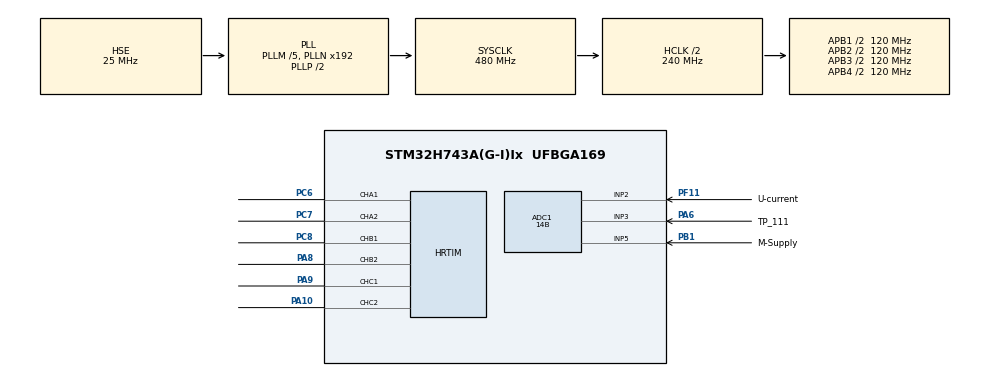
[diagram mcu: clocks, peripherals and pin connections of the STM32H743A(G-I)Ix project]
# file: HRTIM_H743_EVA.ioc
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ADC1.Channel-0\#ChannelRegularConversion=ADC_CHANNEL_2
ADC1.ClockPrescaler=ADC_CLOCK_ASYNC_DIV2
ADC1.EOCSelection=ADC_EOC_SEQ_CONV
ADC1.EnableInjectedConversion=ENABLE
ADC1.ExternalTrigConv=ADC_EXTERNALTRIG_HR1_ADCTRG1
ADC1.ExternalTrigInjecConv=ADC_EXTERNALTRIGINJEC_HR1_ADCTRG2
ADC1.InjNumberOfConversion=2
ADC1.InjectedChannel-1\#ChannelInjectedConversion=ADC_CHANNEL_3
ADC1.InjectedChannel-2\#ChannelInjectedConversion=ADC_CHANNEL_5
ADC1.InjectedOffsetNumber-1\#ChannelInjectedConversion=ADC_OFFSET_NONE
ADC1.InjectedOffsetNumber-2\#ChannelInjectedConversion=ADC_OFFSET_NONE
ADC1.InjectedOffsetSaturation-1\#ChannelInjectedConversion=DISABLE
ADC1.InjectedOffsetSaturation-2\#ChannelInjectedConversion=DISABLE
ADC1.InjectedRank-1\#ChannelInjectedConversion=1
ADC1.InjectedRank-2\#ChannelInjectedConversion=2
ADC1.InjectedSamplingTime-1\#ChannelInjectedConversion=ADC_SAMPLETIME_32CYCLES_5
ADC1.InjectedSamplingTime-2\#ChannelInjectedConversion=ADC_SAMPLETIME_32CYCLES_5
ADC1.NbrOfConversionFlag=1
ADC1.OffsetNumber-0\#ChannelRegularConversion=ADC_OFFSET_NONE
ADC1.OffsetSignedSaturation-0\#ChannelRegularConversion=DISABLE
ADC1.Rank-0\#ChannelRegularConversion=1
ADC1.Resolution=ADC_RESOLUTION_14B
ADC1.SamplingTime-0\#ChannelRegularConversion=ADC_SAMPLETIME_32CYCLES_5
ADC1.master=1
Dma.HRTIM1_M.0.Direction=DMA_PERIPH_TO_MEMORY
Dma.HRTIM1_M.0.EventEnable=ENABLE
Dma.HRTIM1_M.0.FIFOMode=DMA_FIFOMODE_DISABLE
Dma.HRTIM1_M.0.Instance=DMA1_Stream2
Dma.HRTIM1_M.0.MemDataAlignment=DMA_MDATAALIGN_WORD
Dma.HRTIM1_M.0.MemInc=DMA_MINC_ENABLE
Dma.HRTIM1_M.0.Mode=DMA_NORMAL
Dma.HRTIM1_M.0.PeriphDataAlignment=DMA_PDATAALIGN_WORD
Dma.HRTIM1_M.0.PeriphInc=DMA_PINC_DISABLE
Dma.HRTIM1_M.0.Polarity=HAL_DMAMUX_REQ_GEN_RISING
Dma.HRTIM1_M.0.Priority=DMA_PRIORITY_HIGH
Dma.HRTIM1_M.0.RequestNumber=1
Dma.HRTIM1_M.0.SignalID=NONE
Dma.HRTIM1_M.0.SyncEnable=DISABLE
Dma.HRTIM1_M.0.SyncPolarity=HAL_DMAMUX_SYNC_NO_EVENT
Dma.HRTIM1_M.0.SyncRequestNumber=1
Dma.HRTIM1_M.0.SyncSignalID=NONE
Dma.Request0=HRTIM1_M
HRTIM.ADCTrigger1_Source1=HRTIM_ADCTRIGGEREVENT13_TIMERD_CMP2
HRTIM.ADCTrigger2_Source1=HRTIM_ADCTRIGGEREVENT24_TIMERE_CMP2
HRTIM.ADCTrigger_Id1=HRTIM_ADCTRIGGER_1
HRTIM.ADCTrigger_Id2=HRTIM_ADCTRIGGER_2
HRTIM.BurstDMAconfig-MasterTimer=HRTIM_TIMERINDEX_MASTER
HRTIM.BurstDMAconfig-Output_TC1TC2=__NULL
HRTIM.CompareUnit1-MasterTimer=HRTIM_COMPAREUNIT_1
HRTIM.CompareUnit1-No_output_TD=__NULL
HRTIM.CompareUnit1-No_output_TE=__NULL
HRTIM.CompareUnit1-Output_TA1TA2=HRTIM_COMPAREUNIT_1
HRTIM.CompareUnit1-Output_TB1TB2=HRTIM_COMPAREUNIT_1
HRTIM.CompareUnit1-Output_TC1TC2=HRTIM_COMPAREUNIT_1
HRTIM.CompareUnit2-MasterTimer=HRTIM_COMPAREUNIT_2
HRTIM.CompareUnit2-No_output_TD=HRTIM_COMPAREUNIT_2
HRTIM.CompareUnit2-No_output_TE=HRTIM_COMPAREUNIT_2
HRTIM.CompareUnit2-Output_TA1TA2=HRTIM_COMPAREUNIT_2
HRTIM.CompareUnit2-Output_TB1TB2=HRTIM_COMPAREUNIT_2
HRTIM.CompareUnit2-Output_TC1TC2=HRTIM_COMPAREUNIT_2
HRTIM.CompareValue1-MasterTimer=0x04
HRTIM.CompareValue1-Output_TA1TA2=2000
HRTIM.CompareValue1-Output_TB1TB2=2000
HRTIM.CompareValue1-Output_TC1TC2=1999
HRTIM.CompareValue2-MasterTimer=666
HRTIM.CompareValue2-No_output_TD=PWM_Period
HRTIM.CompareValue2-No_output_TE=Base_Period - 2000
HRTIM.CompareValue2-Output_TA1TA2=4000
HRTIM.CompareValue2-Output_TB1TB2=4000
HRTIM.CompareValue2-Output_TC1TC2=4000
HRTIM.DMARequests1_Master=HRTIM_MASTER_DMA_MREP
HRTIM.DeadTimeInsertion-Output_TA1TA2=HRTIM_TIMDEADTIMEINSERTION_ENABLED
HRTIM.DeadTimeInsertion-Output_TB1TB2=HRTIM_TIMDEADTIMEINSERTION_ENABLED
HRTIM.DeadTimeInsertion-Output_TC1TC2=HRTIM_TIMDEADTIMEINSERTION_ENABLED
HRTIM.Deadtimeconfig-Output_TA1TA2=HRTIM_TIMERINDEX_TIMER_A
HRTIM.Enable=HRTIM_BURSTMODECTL_DISABLED
HRTIM.Event_EEV1=__NULL
HRTIM.FallingSign-Output_TA1TA2=HRTIM_TIMDEADTIME_FALLINGSIGN_NEGATIVE
HRTIM.FallingSign-Output_TB1TB2=HRTIM_TIMDEADTIME_FALLINGSIGN_NEGATIVE
HRTIM.FallingSign-Output_TC1TC2=HRTIM_TIMDEADTIME_FALLINGSIGN_NEGATIVE
HRTIM.FallingValue-Output_TA1TA2=0x00A
HRTIM.HRTIMInterruptResquests1=HRTIM_IT_SYSFLT
HRTIM.InterruptRequests1-No_output_TD=HRTIM_TIM_IT_CMP2
HRTIM.InterruptRequests1-No_output_TE=HRTIM_TIM_IT_CMP2
HRTIM.ModeTimeBase-No_output_TD=HRTIM_MODE_SINGLESHOT
HRTIM.ModeTimeBase-No_output_TE=HRTIM_MODE_SINGLESHOT
HRTIM.ModeTimeBase-Output_TA1TA2=HRTIM_MODE_SINGLESHOT_RETRIGGERABLE
HRTIM.ModeTimeBase-Output_TB1TB2=HRTIM_MODE_SINGLESHOT_RETRIGGERABLE
HRTIM.ModeTimeBase-Output_TC1TC2=HRTIM_MODE_SINGLESHOT_RETRIGGERABLE
HRTIM.NumberADCTriggerSource1=1
HRTIM.NumberADCTriggerSource2=1
HRTIM.NumberDMARequests_Master=1
HRTIM.NumberDMARequests_TC=0
HRTIM.NumberInterruptRequests-No_output_TD=1
HRTIM.NumberInterruptRequests-No_output_TE=1
HRTIM.NumberRegisters_BURSTDMAMaster=1
HRTIM.NumberResetSource1-Output_TA1TA2=1
HRTIM.NumberResetSource1-Output_TB1TB2=1
HRTIM.NumberResetSource1-Output_TC1TC2=1
HRTIM.NumberResetSource2_TA=1
HRTIM.NumberResetSource2_TB=1
HRTIM.NumberResetSource2_TC=1
HRTIM.NumberResetTrigger-No_output_TD=1
HRTIM.NumberResetTrigger-No_output_TE=1
HRTIM.NumberResetTrigger-Output_TA1TA2=1
HRTIM.NumberResetTrigger-Output_TB1TB2=1
HRTIM.NumberResetTrigger-Output_TC1TC2=1
HRTIM.NumberSetSource1-Output_TA1TA2=1
HRTIM.NumberSetSource1-Output_TB1TB2=1
HRTIM.NumberSetSource1-Output_TC1TC2=1
HRTIM.NumberSetSource2_TA=0
HRTIM.NumberSetSource2_TB=0
HRTIM.NumberSetSource2_TC=0
HRTIM.NumberUpdateTrigger-Output_TA1TA2=1
HRTIM.NumberUpdateTrigger-Output_TB1TB2=1
HRTIM.NumberUpdateTrigger-Output_TC1TC2=1
HRTIM.ORingUpdateSource_ADCTrigger1=HRTIM_ADCTRIGGERUPDATE_TIMER_D
HRTIM.ORingUpdateSource_ADCTrigger2=HRTIM_ADCTRIGGERUPDATE_TIMER_E
HRTIM.Periode_MASTER=PWM_Period
HRTIM.Periode_TA=PWM_Period
HRTIM.Periode_TB=PWM_Period
HRTIM.Periode_TC=PWM_Period
HRTIM.Periode_TD=Base_Period
HRTIM.Periode_TE=Base_Period
HRTIM.Polarity2-Output_TA1TA2=HRTIM_OUTPUTPOLARITY_HIGH
HRTIM.Polarity2-Output_TB1TB2=HRTIM_OUTPUTPOLARITY_HIGH
HRTIM.Polarity2-Output_TC1TC2=HRTIM_OUTPUTPOLARITY_HIGH
HRTIM.PreloadEnable-MasterTimer=HRTIM_PRELOAD_ENABLED
HRTIM.PreloadEnable-No_output_TD=HRTIM_PRELOAD_DISABLED
HRTIM.PreloadEnable-No_output_TE=HRTIM_PRELOAD_DISABLED
HRTIM.PreloadEnable-Output_TA1TA2=HRTIM_PRELOAD_ENABLED
HRTIM.PreloadEnable-Output_TB1TB2=HRTIM_PRELOAD_ENABLED
HRTIM.PreloadEnable-Output_TC1TC2=HRTIM_PRELOAD_ENABLED
HRTIM.PrescalerDead-Output_TA1TA2=HRTIM_TIMDEADTIME_PRESCALERRATIO_DIV1
HRTIM.PrescalerDead-Output_TB1TB2=HRTIM_TIMDEADTIME_PRESCALERRATIO_DIV1
HRTIM.PrescalerDead-Output_TC1TC2=HRTIM_TIMDEADTIME_PRESCALERRATIO_DIV1
HRTIM.RegistersToUpdate_Source1Master=HRTIM_BURSTDMA_CMP2
HRTIM.RepetitionUpdate-MasterTimer=HRTIM_UPDATEONREPETITION_ENABLED
HRTIM.RepetitionUpdate-No_output_TD=HRTIM_UPDATEONREPETITION_ENABLED
HRTIM.RepetitionUpdate-No_output_TE=HRTIM_UPDATEONREPETITION_ENABLED
HRTIM.RepetitionUpdate-Output_TA1TA2=HRTIM_UPDATEONREPETITION_DISABLED
HRTIM.RepetitionUpdate-Output_TB1TB2=HRTIM_UPDATEONREPETITION_DISABLED
HRTIM.RepetitionUpdate-Output_TC1TC2=HRTIM_UPDATEONREPETITION_DISABLED
HRTIM.ResetOutput1_Source1-Output_TA1TA2=HRTIM_OUTPUTRESET_TIMCMP2
HRTIM.ResetOutput1_Source1-Output_TB1TB2=HRTIM_OUTPUTRESET_TIMCMP2
HRTIM.ResetOutput1_Source1-Output_TC1TC2=HRTIM_OUTPUTRESET_TIMCMP2
HRTIM.ResetOutput2_Source1-Output_TA1TA2=HRTIM_OUTPUTRESET_TIMCMP2
HRTIM.ResetOutput2_Source1-Output_TB1TB2=HRTIM_OUTPUTRESET_TIMCMP2
HRTIM.ResetOutput2_Source1-Output_TC1TC2=HRTIM_OUTPUTRESET_TIMCMP2
HRTIM.ResetTrigger1-No_output_TD=HRTIM_TIMRESETTRIGGER_MASTER_PER
HRTIM.ResetTrigger1-No_output_TE=HRTIM_TIMRESETTRIGGER_MASTER_PER
HRTIM.ResetTrigger1-Output_TA1TA2=HRTIM_TIMRESETTRIGGER_MASTER_PER
HRTIM.ResetTrigger1-Output_TB1TB2=HRTIM_TIMRESETTRIGGER_MASTER_PER
HRTIM.ResetTrigger1-Output_TC1TC2=HRTIM_TIMRESETTRIGGER_MASTER_PER
HRTIM.ResetUpdate-Output_TC1TC2=HRTIM_TIMUPDATEONRESET_DISABLED
HRTIM.RisingSign-Output_TA1TA2=HRTIM_TIMDEADTIME_RISINGSIGN_POSITIVE
HRTIM.RisingSign-Output_TB1TB2=HRTIM_TIMDEADTIME_RISINGSIGN_POSITIVE
HRTIM.RisingSign-Output_TC1TC2=HRTIM_TIMDEADTIME_RISINGSIGN_POSITIVE
HRTIM.RisingValue-Output_TA1TA2=0x009
HRTIM.SetOutput1_Source1-Output_TA1TA2=HRTIM_OUTPUTSET_TIMCMP1
HRTIM.SetOutput1_Source1-Output_TB1TB2=HRTIM_OUTPUTSET_TIMCMP1
HRTIM.SetOutput1_Source1-Output_TC1TC2=HRTIM_OUTPUTSET_TIMCMP1
HRTIM.UpdateGating-MasterTimer=HRTIM_UPDATEGATING_DMABURST
HRTIM.UpdateGating-Output_TA1TA2=HRTIM_UPDATEGATING_DMABURST
HRTIM.UpdateGating-Output_TB1TB2=HRTIM_UPDATEGATING_DMABURST
HRTIM.UpdateGating-Output_TC1TC2=HRTIM_UPDATEGATING_DMABURST
HRTIM.UpdateTrigger1-Output_TA1TA2=HRTIM_TIMUPDATETRIGGER_MASTER
HRTIM.UpdateTrigger1-Output_TB1TB2=HRTIM_TIMUPDATETRIGGER_MASTER
HRTIM.UpdateTrigger1-Output_TC1TC2=HRTIM_TIMUPDATETRIGGER_MASTER
Mcu.Family=STM32H7
Mcu.Name=STM32H743A(G-I)Ix
Mcu.Package=UFBGA169
Mcu.UserConstants=Base_Period,12000;PWM_Period,6000
NVIC.ADC_IRQn=true\:0\:0\:false\:false\:true\:true\:true\:true
NVIC.DMA1_Stream2_IRQn=true\:0\:0\:false\:false\:true\:false\:true\:true
NVIC.DMAMUX1_OVR_IRQn=true\:0\:0\:false\:false\:true\:false\:true\:true
NVIC.HRTIM1_TIMD_IRQn=true\:0\:0\:false\:false\:true\:true\:true\:true
NVIC.HRTIM1_TIME_IRQn=true\:0\:0\:false\:false\:true\:true\:true\:true
NVIC.PriorityGroup=NVIC_PRIORITYGROUP_4
PA10.Mode=Output_TC1TC2
PA10.Signal=HRTIM_CHC2
PA13\ (JTMS/SWDIO).Mode=Trace_Asynchronous_SW
PA13\ (JTMS/SWDIO).Signal=DEBUG_JTMS-SWDIO
PA14\ (JTCK/SWCLK).Mode=Trace_Asynchronous_SW
PA14\ (JTCK/SWCLK).Signal=DEBUG_JTCK-SWCLK
PA6.GPIO_Label=TP_111
PA6.Signal=ADCx_INP3
PA8.Mode=Output_TB1TB2
PA8.Signal=HRTIM_CHB2
PA9.Mode=Output_TC1TC2
PA9.Signal=HRTIM_CHC1
PB1.GPIO_Label=M-Supply
PB1.Signal=ADCx_INP5
PB3\ (JTDO/TRACESWO).Mode=Trace_Asynchronous_SW
PB3\ (JTDO/TRACESWO).Signal=DEBUG_JTDO-SWO
PC6.Mode=Output_TA1TA2
PC6.Signal=HRTIM_CHA1
PC7.Mode=Output_TA1TA2
PC7.Signal=HRTIM_CHA2
PC8.Mode=Output_TB1TB2
PC8.Signal=HRTIM_CHB1
PF11.GPIO_Label=U-current
PF11.Mode=IN2-Single-Ended
PF11.Signal=ADC1_INP2
PH0-OSC_IN\ (PH0).Mode=HSE-External-Clock-Source
PH0-OSC_IN\ (PH0).Signal=RCC_OSC_IN
ProjectManager.HeapSize=0x200
ProjectManager.StackSize=0x400
ProjectManager.TargetToolchain=STM32CubeIDE
RCC.ADCCLockSelection=RCC_ADCCLKSOURCE_PLL3
RCC.ADCFreq_Value=75000000
RCC.APB1Freq_Value=120000000
RCC.APB2Freq_Value=120000000
RCC.APB3Freq_Value=120000000
RCC.APB4Freq_Value=120000000
RCC.CortexFreq_Value=60000000
RCC.Cortex_Div=SYSTICK_CLKSOURCE_HCLK_DIV8
RCC.D1PPRE=RCC_APB3_DIV2
RCC.D2PPRE1=RCC_APB1_DIV2
RCC.D2PPRE2=RCC_APB2_DIV2
RCC.D3PPRE=RCC_APB4_DIV2
RCC.DIVM1=5
RCC.DIVM2=2
RCC.DIVM3=23
RCC.DIVN1=192
RCC.DIVN2=12
RCC.DIVN3=138
RCC.HCLKFreq_Value=240000000
RCC.HPRE=RCC_HCLK_DIV2
RCC.HRTIMCLockSelection=RCC_HRTIM1CLK_CPUCLK
RCC.PLLSourceVirtual=RCC_PLLSOURCE_HSE
RCC.SYSCLKFreq_VALUE=480000000
RCC.SYSCLKSource=RCC_SYSCLKSOURCE_PLLCLK
RCC.USBFreq_Value=480000000
SH.ADCx_INP3.0=ADC1_INP3,IN3-Single-Ended
SH.ADCx_INP5.0=ADC1_INP5,IN5-Single-Ended
VP_HRTIM_VS_hrtimMasterTimerNoOutput.Mode=MasterTimer
VP_HRTIM_VS_hrtimTimerDNoOutput.Mode=No_output_TD
VP_HRTIM_VS_hrtimTimerENoOutput.Mode=No_output_TE
board=custom

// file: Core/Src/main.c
/* USER CODE BEGIN Header */
/**
  ******************************************************************************
  * @file           : main.c
  * @brief          : Main program body
  ******************************************************************************
  * @attention
  *
  * Copyright (c) 2024 STMicroelectronics.
  * All rights reserved.
  *
  * This software is licensed under terms that can be found in the LICENSE file
  * in the root directory of this software component.
  * If no LICENSE file comes with this software, it is provided AS-IS.
  *
  ******************************************************************************
  */
/* USER CODE END Header */
#include "main.h"

/* USER CODE BEGIN Includes */

#include "stm32h7xx_ll_cortex.h"
/* USER CODE END Includes */

ADC_HandleTypeDef hadc1;

HRTIM_HandleTypeDef hhrtim;
DMA_HandleTypeDef hdma_hrtim1_m;

void SystemClock_Config(void);
static void MX_GPIO_Init(void);
static void MX_DMA_Init(void);
static void MX_HRTIM_Init(void);
static void MX_ADC1_Init(void);

int main(void)
{

  /* MCU Configuration--------------------------------------------------------*/

  /* Reset of all peripherals, Initializes the Flash interface and the Systick. */
  HAL_Init();

  /* Configure the system clock */
  SystemClock_Config();

  /* Initialize all configured peripherals */
  MX_GPIO_Init();
  MX_DMA_Init();
  MX_HRTIM_Init();
  MX_ADC1_Init();
  /* USER CODE BEGIN 2 */

  HAL_ADC_Start_IT( &hadc1 );

  HAL_StatusTypeDef volatile ret =
		  HAL_HRTIM_SoftwareReset( &hhrtim, HRTIM_TIMERRESET_MASTER ); // MASTER should reset its slaves
  if( ret != HAL_OK)
  {
	  Error_Handler();
  }

  ret = HAL_HRTIM_WaveformOutputStart( &hhrtim,
		  HRTIM_OUTPUT_TA1 | HRTIM_OUTPUT_TA2 |
		  HRTIM_OUTPUT_TB1 | HRTIM_OUTPUT_TB2 |
		  HRTIM_OUTPUT_TC1 | HRTIM_OUTPUT_TC2  );
  if( ret != HAL_OK)
  {
	  Error_Handler();
  }

  ret = HAL_HRTIM_WaveformCountStart( &hhrtim, HRTIM_TIMERID_TIMER_A | HRTIM_TIMERID_TIMER_B | HRTIM_TIMERID_TIMER_C  );
  if( ret != HAL_OK)
  {
	  Error_Handler();
  }
  // Interrupts for testing purpose
  ret = HAL_HRTIM_WaveformCountStart_IT( &hhrtim, HRTIM_TIMERID_TIMER_D | HRTIM_TIMERID_TIMER_E );
  if( ret != HAL_OK)
  {
	  Error_Handler();
  }
  ret = HAL_HRTIM_WaveformCountStart_DMA( &hhrtim, HRTIM_TIMERID_MASTER );
  if( ret != HAL_OK)
  {
	  Error_Handler();
  }

  LL_SYSTICK_EnableIT();

  /* USER CODE END 2 */

  /* Infinite loop */
  while (1)
  {

  }
}

void SystemClock_Config(void)
{
  RCC_OscInitTypeDef RCC_OscInitStruct = {0};
  RCC_ClkInitTypeDef RCC_ClkInitStruct = {0};

  /** Supply configuration update enable
  */
  HAL_PWREx_ConfigSupply(PWR_LDO_SUPPLY);

  /** Configure the main internal regulator output voltage
  */
  __HAL_PWR_VOLTAGESCALING_CONFIG(PWR_REGULATOR_VOLTAGE_SCALE1);

  while(!__HAL_PWR_GET_FLAG(PWR_FLAG_VOSRDY)) {}

  __HAL_RCC_SYSCFG_CLK_ENABLE();
  __HAL_PWR_VOLTAGESCALING_CONFIG(PWR_REGULATOR_VOLTAGE_SCALE0);

  while(!__HAL_PWR_GET_FLAG(PWR_FLAG_VOSRDY)) {}

  /** Initializes the RCC Oscillators according to the specified parameters
  * in the RCC_OscInitTypeDef structure.
  */
  RCC_OscInitStruct.OscillatorType = RCC_OSCILLATORTYPE_HSE;
  RCC_OscInitStruct.HSEState = RCC_HSE_BYPASS;
  RCC_OscInitStruct.PLL.PLLState = RCC_PLL_ON;
  RCC_OscInitStruct.PLL.PLLSource = RCC_PLLSOURCE_HSE;
  RCC_OscInitStruct.PLL.PLLM = 5;
  RCC_OscInitStruct.PLL.PLLN = 192;
  RCC_OscInitStruct.PLL.PLLP = 2;
  RCC_OscInitStruct.PLL.PLLQ = 2;
  RCC_OscInitStruct.PLL.PLLR = 2;
  RCC_OscInitStruct.PLL.PLLRGE = RCC_PLL1VCIRANGE_2;
  RCC_OscInitStruct.PLL.PLLVCOSEL = RCC_PLL1VCOWIDE;
  RCC_OscInitStruct.PLL.PLLFRACN = 0;
  if (HAL_RCC_OscConfig(&RCC_OscInitStruct) != HAL_OK)
  {
    Error_Handler();
  }

  /** Initializes the CPU, AHB and APB buses clocks
  */
  RCC_ClkInitStruct.ClockType = RCC_CLOCKTYPE_HCLK|RCC_CLOCKTYPE_SYSCLK
                              |RCC_CLOCKTYPE_PCLK1|RCC_CLOCKTYPE_PCLK2
                              |RCC_CLOCKTYPE_D3PCLK1|RCC_CLOCKTYPE_D1PCLK1;
  RCC_ClkInitStruct.SYSCLKSource = RCC_SYSCLKSOURCE_PLLCLK;
  RCC_ClkInitStruct.SYSCLKDivider = RCC_SYSCLK_DIV1;
  RCC_ClkInitStruct.AHBCLKDivider = RCC_HCLK_DIV2;
  RCC_ClkInitStruct.APB3CLKDivider = RCC_APB3_DIV2;
  RCC_ClkInitStruct.APB1CLKDivider = RCC_APB1_DIV2;
  RCC_ClkInitStruct.APB2CLKDivider = RCC_APB2_DIV2;
  RCC_ClkInitStruct.APB4CLKDivider = RCC_APB4_DIV2;

  if (HAL_RCC_ClockConfig(&RCC_ClkInitStruct, FLASH_LATENCY_4) != HAL_OK)
  {
    Error_Handler();
  }
}

static void MX_ADC1_Init(void)
{

  ADC_MultiModeTypeDef multimode = {0};
  ADC_ChannelConfTypeDef sConfig = {0};
  ADC_InjectionConfTypeDef sConfigInjected = {0};

  /** Common config
  */
  hadc1.Instance = ADC1;
  hadc1.Init.ClockPrescaler = ADC_CLOCK_ASYNC_DIV2;
  hadc1.Init.Resolution = ADC_RESOLUTION_14B;
  hadc1.Init.ScanConvMode = ADC_SCAN_ENABLE;
  hadc1.Init.EOCSelection = ADC_EOC_SEQ_CONV;
  hadc1.Init.LowPowerAutoWait = DISABLE;
  hadc1.Init.ContinuousConvMode = DISABLE;
  hadc1.Init.NbrOfConversion = 1;
  hadc1.Init.DiscontinuousConvMode = DISABLE;
  hadc1.Init.ExternalTrigConv = ADC_EXTERNALTRIG_HR1_ADCTRG1;
  hadc1.Init.ExternalTrigConvEdge = ADC_EXTERNALTRIGCONVEDGE_RISING;
  hadc1.Init.ConversionDataManagement = ADC_CONVERSIONDATA_DR;
  hadc1.Init.Overrun = ADC_OVR_DATA_PRESERVED;
  hadc1.Init.LeftBitShift = ADC_LEFTBITSHIFT_NONE;
  hadc1.Init.OversamplingMode = DISABLE;
  if (HAL_ADC_Init(&hadc1) != HAL_OK)
  {
    Error_Handler();
  }

  /** Configure the ADC multi-mode
  */
  multimode.Mode = ADC_MODE_INDEPENDENT;
  if (HAL_ADCEx_MultiModeConfigChannel(&hadc1, &multimode) != HAL_OK)
  {
    Error_Handler();
  }

  /** Disable Injected Queue
  */
  HAL_ADCEx_DisableInjectedQueue(&hadc1);

  /** Configure Regular Channel
  */
  sConfig.Channel = ADC_CHANNEL_2;
  sConfig.Rank = ADC_REGULAR_RANK_1;
  sConfig.SamplingTime = ADC_SAMPLETIME_32CYCLES_5;
  sConfig.SingleDiff = ADC_SINGLE_ENDED;
  sConfig.OffsetNumber = ADC_OFFSET_NONE;
  sConfig.Offset = 0;
  sConfig.OffsetSignedSaturation = DISABLE;
  if (HAL_ADC_ConfigChannel(&hadc1, &sConfig) != HAL_OK)
  {
    Error_Handler();
  }

  /** Configure Injected Channel
  */
  sConfigInjected.InjectedChannel = ADC_CHANNEL_3;
  sConfigInjected.InjectedRank = ADC_INJECTED_RANK_1;
  sConfigInjected.InjectedSamplingTime = ADC_SAMPLETIME_32CYCLES_5;
  sConfigInjected.InjectedSingleDiff = ADC_SINGLE_ENDED;
  sConfigInjected.InjectedOffsetNumber = ADC_OFFSET_NONE;
  sConfigInjected.InjectedOffset = 0;
  sConfigInjected.InjectedNbrOfConversion = 2;
  sConfigInjected.InjectedDiscontinuousConvMode = DISABLE;
  sConfigInjected.AutoInjectedConv = DISABLE;
  sConfigInjected.QueueInjectedContext = DISABLE;
  sConfigInjected.ExternalTrigInjecConv = ADC_EXTERNALTRIGINJEC_HR1_ADCTRG2;
  sConfigInjected.ExternalTrigInjecConvEdge = ADC_EXTERNALTRIGINJECCONV_EDGE_RISING;
  sConfigInjected.InjecOversamplingMode = DISABLE;
  if (HAL_ADCEx_InjectedConfigChannel(&hadc1, &sConfigInjected) != HAL_OK)
  {
    Error_Handler();
  }

  /** Configure Injected Channel
  */
  sConfigInjected.InjectedChannel = ADC_CHANNEL_5;
  sConfigInjected.InjectedRank = ADC_INJECTED_RANK_2;
  if (HAL_ADCEx_InjectedConfigChannel(&hadc1, &sConfigInjected) != HAL_OK)
  {
    Error_Handler();
  }

}

static void MX_HRTIM_Init(void)
{

  HRTIM_ADCTriggerCfgTypeDef pADCTriggerCfg = {0};
  HRTIM_TimeBaseCfgTypeDef pTimeBaseCfg = {0};
  HRTIM_TimerCfgTypeDef pTimerCfg = {0};
  HRTIM_CompareCfgTypeDef pCompareCfg = {0};
  HRTIM_DeadTimeCfgTypeDef pDeadTimeCfg = {0};
  HRTIM_OutputCfgTypeDef pOutputCfg = {0};

  hhrtim.Instance = HRTIM1;
  hhrtim.Init.HRTIMInterruptResquests = HRTIM_IT_SYSFLT;
  hhrtim.Init.SyncOptions = HRTIM_SYNCOPTION_NONE;
  if (HAL_HRTIM_Init(&hhrtim) != HAL_OK)
  {
    Error_Handler();
  }
  pADCTriggerCfg.UpdateSource = HRTIM_ADCTRIGGERUPDATE_TIMER_D;
  pADCTriggerCfg.Trigger = HRTIM_ADCTRIGGEREVENT13_TIMERD_CMP2;
  if (HAL_HRTIM_ADCTriggerConfig(&hhrtim, HRTIM_ADCTRIGGER_1, &pADCTriggerCfg) != HAL_OK)
  {
    Error_Handler();
  }
  pADCTriggerCfg.UpdateSource = HRTIM_ADCTRIGGERUPDATE_TIMER_E;
  pADCTriggerCfg.Trigger = HRTIM_ADCTRIGGEREVENT24_TIMERE_CMP2;
  if (HAL_HRTIM_ADCTriggerConfig(&hhrtim, HRTIM_ADCTRIGGER_2, &pADCTriggerCfg) != HAL_OK)
  {
    Error_Handler();
  }
  pTimeBaseCfg.Period = PWM_Period;
  pTimeBaseCfg.RepetitionCounter = 0x00;
  pTimeBaseCfg.PrescalerRatio = HRTIM_PRESCALERRATIO_DIV1;
  pTimeBaseCfg.Mode = HRTIM_MODE_CONTINUOUS;
  if (HAL_HRTIM_TimeBaseConfig(&hhrtim, HRTIM_TIMERINDEX_MASTER, &pTimeBaseCfg) != HAL_OK)
  {
    Error_Handler();
  }
  pTimerCfg.InterruptRequests = HRTIM_MASTER_IT_NONE;
  pTimerCfg.DMARequests = HRTIM_MASTER_DMA_MREP;
  pTimerCfg.DMASrcAddress = 0x0000;
  pTimerCfg.DMADstAddress = 0x0000;
  pTimerCfg.DMASize = 0x1;
  pTimerCfg.HalfModeEnable = HRTIM_HALFMODE_DISABLED;
  pTimerCfg.StartOnSync = HRTIM_SYNCSTART_DISABLED;
  pTimerCfg.ResetOnSync = HRTIM_SYNCRESET_DISABLED;
  pTimerCfg.DACSynchro = HRTIM_DACSYNC_NONE;
  pTimerCfg.PreloadEnable = HRTIM_PRELOAD_ENABLED;
  pTimerCfg.UpdateGating = HRTIM_UPDATEGATING_DMABURST;
  pTimerCfg.BurstMode = HRTIM_TIMERBURSTMODE_MAINTAINCLOCK;
  pTimerCfg.RepetitionUpdate = HRTIM_UPDATEONREPETITION_ENABLED;
  if (HAL_HRTIM_WaveformTimerConfig(&hhrtim, HRTIM_TIMERINDEX_MASTER, &pTimerCfg) != HAL_OK)
  {
    Error_Handler();
  }
  pCompareCfg.CompareValue = 0x04;
  if (HAL_HRTIM_WaveformCompareConfig(&hhrtim, HRTIM_TIMERINDEX_MASTER, HRTIM_COMPAREUNIT_1, &pCompareCfg) != HAL_OK)
  {
    Error_Handler();
  }
  pCompareCfg.CompareValue = 666;
  if (HAL_HRTIM_WaveformCompareConfig(&hhrtim, HRTIM_TIMERINDEX_MASTER, HRTIM_COMPAREUNIT_2, &pCompareCfg) != HAL_OK)
  {
    Error_Handler();
  }
  if (HAL_HRTIM_BurstDMAConfig(&hhrtim, HRTIM_TIMERINDEX_MASTER, HRTIM_BURSTDMA_CMP2) != HAL_OK)
  {
    Error_Handler();
  }
  pTimeBaseCfg.Mode = HRTIM_MODE_SINGLESHOT_RETRIGGERABLE;
  if (HAL_HRTIM_TimeBaseConfig(&hhrtim, HRTIM_TIMERINDEX_TIMER_A, &pTimeBaseCfg) != HAL_OK)
  {
    Error_Handler();
  }
  pTimerCfg.InterruptRequests = HRTIM_TIM_IT_NONE;
  pTimerCfg.DMARequests = HRTIM_TIM_DMA_NONE;
  pTimerCfg.RepetitionUpdate = HRTIM_UPDATEONREPETITION_DISABLED;
  pTimerCfg.PushPull = HRTIM_TIMPUSHPULLMODE_DISABLED;
  pTimerCfg.FaultEnable = HRTIM_TIMFAULTENABLE_NONE;
  pTimerCfg.FaultLock = HRTIM_TIMFAULTLOCK_READWRITE;
  pTimerCfg.DeadTimeInsertion = HRTIM_TIMDEADTIMEINSERTION_ENABLED;
  pTimerCfg.DelayedProtectionMode = HRTIM_TIMER_A_B_C_DELAYEDPROTECTION_DISABLED;
  pTimerCfg.UpdateTrigger = HRTIM_TIMUPDATETRIGGER_MASTER;
  pTimerCfg.ResetTrigger = HRTIM_TIMRESETTRIGGER_MASTER_PER;
  pTimerCfg.ResetUpdate = HRTIM_TIMUPDATEONRESET_DISABLED;
  pTimerCfg.UpdateGating = HRTIM_UPDATEGATING_DMABURST_UPDATE; // HERE
  if (HAL_HRTIM_WaveformTimerConfig(&hhrtim, HRTIM_TIMERINDEX_TIMER_A, &pTimerCfg) != HAL_OK)
  {
    Error_Handler();
  }
  if (HAL_HRTIM_WaveformTimerConfig(&hhrtim, HRTIM_TIMERINDEX_TIMER_B, &pTimerCfg) != HAL_OK)
  {
    Error_Handler();
  }
  if (HAL_HRTIM_WaveformTimerConfig(&hhrtim, HRTIM_TIMERINDEX_TIMER_C, &pTimerCfg) != HAL_OK)
  {
    Error_Handler();
  }
  pTimerCfg.InterruptRequests = HRTIM_TIM_IT_CMP2;
  pTimerCfg.PreloadEnable = HRTIM_PRELOAD_DISABLED;
  pTimerCfg.UpdateGating = HRTIM_UPDATEGATING_INDEPENDENT;
  pTimerCfg.RepetitionUpdate = HRTIM_UPDATEONREPETITION_ENABLED;
  pTimerCfg.DeadTimeInsertion = HRTIM_TIMDEADTIMEINSERTION_DISABLED;
  pTimerCfg.DelayedProtectionMode = HRTIM_TIMER_D_E_DELAYEDPROTECTION_DISABLED;
  pTimerCfg.UpdateTrigger = HRTIM_TIMUPDATETRIGGER_NONE;
  if (HAL_HRTIM_WaveformTimerConfig(&hhrtim, HRTIM_TIMERINDEX_TIMER_D, &pTimerCfg) != HAL_OK)
  {
    Error_Handler();
  }
  if (HAL_HRTIM_WaveformTimerConfig(&hhrtim, HRTIM_TIMERINDEX_TIMER_E, &pTimerCfg) != HAL_OK)
  {
    Error_Handler();
  }
  pCompareCfg.CompareValue = 2000;
  if (HAL_HRTIM_WaveformCompareConfig(&hhrtim, HRTIM_TIMERINDEX_TIMER_A, HRTIM_COMPAREUNIT_1, &pCompareCfg) != HAL_OK)
  {
    Error_Handler();
  }
  pCompareCfg.CompareValue = 4000;
  pCompareCfg.AutoDelayedMode = HRTIM_AUTODELAYEDMODE_REGULAR;
  pCompareCfg.AutoDelayedTimeout = 0x0000;

  if (HAL_HRTIM_WaveformCompareConfig(&hhrtim, HRTIM_TIMERINDEX_TIMER_A, HRTIM_COMPAREUNIT_2, &pCompareCfg) != HAL_OK)
  {
    Error_Handler();
  }

  if (HAL_HRTIM_WaveformCompareConfig(&hhrtim, HRTIM_TIMERINDEX_TIMER_B, HRTIM_COMPAREUNIT_2, &pCompareCfg) != HAL_OK)
  {
    Error_Handler();
  }

  if (HAL_HRTIM_WaveformCompareConfig(&hhrtim, HRTIM_TIMERINDEX_TIMER_C, HRTIM_COMPAREUNIT_2, &pCompareCfg) != HAL_OK)
  {
    Error_Handler();
  }
  pCompareCfg.CompareValue = PWM_Period;

  if (HAL_HRTIM_WaveformCompareConfig(&hhrtim, HRTIM_TIMERINDEX_TIMER_D, HRTIM_COMPAREUNIT_2, &pCompareCfg) != HAL_OK)
  {
    Error_Handler();
  }
  pCompareCfg.CompareValue = Base_Period - 2000;

  if (HAL_HRTIM_WaveformCompareConfig(&hhrtim, HRTIM_TIMERINDEX_TIMER_E, HRTIM_COMPAREUNIT_2, &pCompareCfg) != HAL_OK)
  {
    Error_Handler();
  }
  pDeadTimeCfg.Prescaler = HRTIM_TIMDEADTIME_PRESCALERRATIO_DIV1;
  pDeadTimeCfg.RisingValue = 0x009;
  pDeadTimeCfg.RisingSign = HRTIM_TIMDEADTIME_RISINGSIGN_POSITIVE;
  pDeadTimeCfg.RisingLock = HRTIM_TIMDEADTIME_RISINGLOCK_WRITE;
  pDeadTimeCfg.RisingSignLock = HRTIM_TIMDEADTIME_RISINGSIGNLOCK_WRITE;
  pDeadTimeCfg.FallingValue = 0x00A;
  pDeadTimeCfg.FallingSign = HRTIM_TIMDEADTIME_FALLINGSIGN_NEGATIVE;
  pDeadTimeCfg.FallingLock = HRTIM_TIMDEADTIME_FALLINGLOCK_WRITE;
  pDeadTimeCfg.FallingSignLock = HRTIM_TIMDEADTIME_FALLINGSIGNLOCK_WRITE;
  if (HAL_HRTIM_DeadTimeConfig(&hhrtim, HRTIM_TIMERINDEX_TIMER_A, &pDeadTimeCfg) != HAL_OK)
  {
    Error_Handler();
  }
  pDeadTimeCfg.RisingValue = 0x000;
  pDeadTimeCfg.FallingValue = 0x000;
  if (HAL_HRTIM_DeadTimeConfig(&hhrtim, HRTIM_TIMERINDEX_TIMER_B, &pDeadTimeCfg) != HAL_OK)
  {
    Error_Handler();
  }
  if (HAL_HRTIM_DeadTimeConfig(&hhrtim, HRTIM_TIMERINDEX_TIMER_C, &pDeadTimeCfg) != HAL_OK)
  {
    Error_Handler();
  }
  pOutputCfg.Polarity = HRTIM_OUTPUTPOLARITY_HIGH;
  pOutputCfg.SetSource = HRTIM_OUTPUTSET_TIMCMP1;
  pOutputCfg.ResetSource = HRTIM_OUTPUTRESET_TIMCMP2;
  pOutputCfg.IdleMode = HRTIM_OUTPUTIDLEMODE_NONE;
  pOutputCfg.IdleLevel = HRTIM_OUTPUTIDLELEVEL_INACTIVE;
  pOutputCfg.FaultLevel = HRTIM_OUTPUTFAULTLEVEL_NONE;
  pOutputCfg.ChopperModeEnable = HRTIM_OUTPUTCHOPPERMODE_DISABLED;
  pOutputCfg.BurstModeEntryDelayed = HRTIM_OUTPUTBURSTMODEENTRY_REGULAR;
  if (HAL_HRTIM_WaveformOutputConfig(&hhrtim, HRTIM_TIMERINDEX_TIMER_A, HRTIM_OUTPUT_TA1, &pOutputCfg) != HAL_OK)
  {
    Error_Handler();
  }
  if (HAL_HRTIM_WaveformOutputConfig(&hhrtim, HRTIM_TIMERINDEX_TIMER_B, HRTIM_OUTPUT_TB1, &pOutputCfg) != HAL_OK)
  {
    Error_Handler();
  }
  if (HAL_HRTIM_WaveformOutputConfig(&hhrtim, HRTIM_TIMERINDEX_TIMER_C, HRTIM_OUTPUT_TC1, &pOutputCfg) != HAL_OK)
  {
    Error_Handler();
  }
  pOutputCfg.SetSource = HRTIM_OUTPUTSET_NONE;
  if (HAL_HRTIM_WaveformOutputConfig(&hhrtim, HRTIM_TIMERINDEX_TIMER_A, HRTIM_OUTPUT_TA2, &pOutputCfg) != HAL_OK)
  {
    Error_Handler();
  }
  if (HAL_HRTIM_WaveformOutputConfig(&hhrtim, HRTIM_TIMERINDEX_TIMER_B, HRTIM_OUTPUT_TB2, &pOutputCfg) != HAL_OK)
  {
    Error_Handler();
  }
  if (HAL_HRTIM_WaveformOutputConfig(&hhrtim, HRTIM_TIMERINDEX_TIMER_C, HRTIM_OUTPUT_TC2, &pOutputCfg) != HAL_OK)
  {
    Error_Handler();
  }
  if (HAL_HRTIM_TimeBaseConfig(&hhrtim, HRTIM_TIMERINDEX_TIMER_B, &pTimeBaseCfg) != HAL_OK)
  {
    Error_Handler();
  }
  pCompareCfg.CompareValue = 2000;
  if (HAL_HRTIM_WaveformCompareConfig(&hhrtim, HRTIM_TIMERINDEX_TIMER_B, HRTIM_COMPAREUNIT_1, &pCompareCfg) != HAL_OK)
  {
    Error_Handler();
  }
  if (HAL_HRTIM_TimeBaseConfig(&hhrtim, HRTIM_TIMERINDEX_TIMER_C, &pTimeBaseCfg) != HAL_OK)
  {
    Error_Handler();
  }
  pCompareCfg.CompareValue = 1999;
  if (HAL_HRTIM_WaveformCompareConfig(&hhrtim, HRTIM_TIMERINDEX_TIMER_C, HRTIM_COMPAREUNIT_1, &pCompareCfg) != HAL_OK)
  {
    Error_Handler();
  }
  pTimeBaseCfg.Period = Base_Period;
  pTimeBaseCfg.Mode = HRTIM_MODE_SINGLESHOT;
  if (HAL_HRTIM_TimeBaseConfig(&hhrtim, HRTIM_TIMERINDEX_TIMER_D, &pTimeBaseCfg) != HAL_OK)
  {
    Error_Handler();
  }
  if (HAL_HRTIM_TimeBaseConfig(&hhrtim, HRTIM_TIMERINDEX_TIMER_E, &pTimeBaseCfg) != HAL_OK)
  {
    Error_Handler();
  }
  HAL_HRTIM_MspPostInit(&hhrtim);

}

static void MX_DMA_Init(void)
{

  /* DMA controller clock enable */
  __HAL_RCC_DMA1_CLK_ENABLE();

  /* DMA interrupt init */
  /* DMA1_Stream2_IRQn interrupt configuration */
  HAL_NVIC_SetPriority(DMA1_Stream2_IRQn, 0, 0);
  HAL_NVIC_EnableIRQ(DMA1_Stream2_IRQn);
  /* DMAMUX1_OVR_IRQn interrupt configuration */
  HAL_NVIC_SetPriority(DMAMUX1_OVR_IRQn, 0, 0);
  HAL_NVIC_EnableIRQ(DMAMUX1_OVR_IRQn);

}

static void MX_GPIO_Init(void)
{

  /* GPIO Ports Clock Enable */
  __HAL_RCC_GPIOA_CLK_ENABLE();
  __HAL_RCC_GPIOB_CLK_ENABLE();
  __HAL_RCC_GPIOC_CLK_ENABLE();
  __HAL_RCC_GPIOH_CLK_ENABLE();
  __HAL_RCC_GPIOF_CLK_ENABLE();

}

void Error_Handler(void)
{
  __disable_irq();
  while (1)
  {
  }
}
